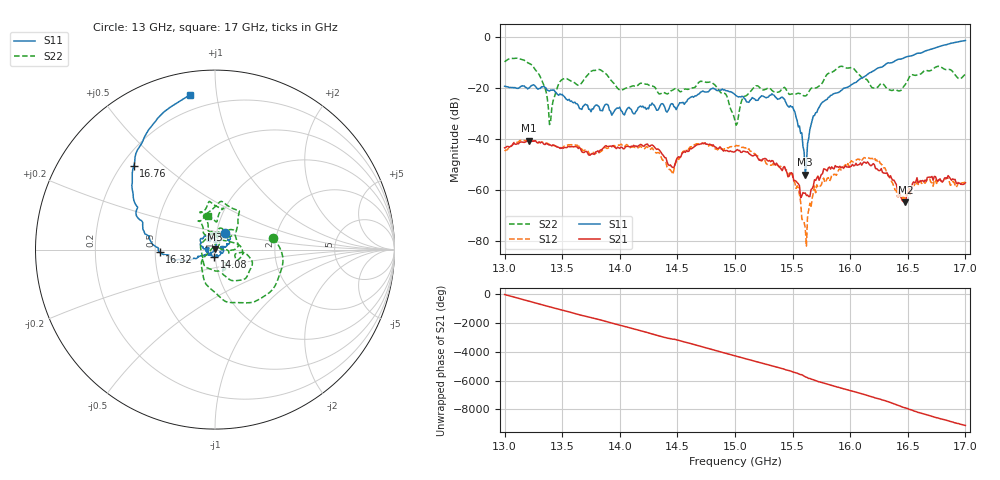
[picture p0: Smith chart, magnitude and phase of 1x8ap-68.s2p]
!Keysight Technologies,P9374A,MY57211807,A.19.30.04
!Date: Friday, May 08, 2026 15:47:55
!Correction: S11(C  2-Port  )
!S21(C  2-Port  )
!S12(C  2-Port  )
!S22(C  2-Port  )
!S2P File: Measurements: S11, S21, S12, S22:
# Hz S  dB  R 50
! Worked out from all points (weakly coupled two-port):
!   401 points, 13 GHz to 17 GHz, reference 50 ohm
!   highest |S21| = -40.60 dB at 13.21 GHz (marker M1); lowest = -64.9 dB at 16.48 GHz (marker M2)
!   lowest |S11| = -53.9 dB at 15.61 GHz (marker M3), VSWR 1.00, Z = 49.9 + j0.145 ohm
!   |S11| at or under -10 dB: start of sweep to 16.33 GHz; 16.33292 GHz to 16.34547 GHz (12.55 MHz wide, 0.0768 % of centre)
!   |S22| runs from -34.5 to -8.2 dB; largest |S21 - S12| = 0.0019
!   S11 on the Smith chart (normalised r, x): 13 GHz: 1.10, +0.21; 14.08 GHz: 0.99, -0.08; 16.32 GHz: 0.53, -0.02; 16.76 GHz: 0.25, +0.40; 17 GHz: 0.12, +0.84
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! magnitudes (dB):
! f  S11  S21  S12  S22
! 13 GHz  -19.2  -43.4  -44.7  -9.6
! 13.21 GHz  -19.9  -40.6  -40.3  -10.1
! 13.4 GHz  -20.7  -42.3  -42.4  -32.6
! 13.49 GHz  -22.5  -43.6  -43.4  -16.9
! 13.67 GHz  -28.3  -45.0  -44.0  -17.8
! 13.82 GHz  -27.2  -45.1  -45.3  -12.6
! 14.08 GHz  -27.4  -43.0  -42.7  -19.6
! 14.34 GHz  -28.0  -44.1  -45.3  -22.2
! 14.45 GHz  -26.0  -50.9  -52.8  -20.9
! 14.79 GHz  -20.3  -42.2  -42.4  -17.6
! 15 GHz  -22.5  -44.9  -42.8  -32.7
! 15.17 GHz  -24.1  -46.2  -45.7  -19.4
! 15.42 GHz  -23.9  -51.1  -50.6  -19.8
! 15.54 GHz  -32.8  -57.1  -58.4  -22.0
! 15.61 GHz  -53.9  -61.2  -75.0  -23.0
! 15.67 GHz  -32.6  -59.4  -63.2  -19.9
! 16.07 GHz  -16.9  -50.1  -47.8  -14.2
! 16.32 GHz  -10.2  -53.2  -53.4  -20.1
! 16.34 GHz  -10.0  -55.0  -54.6  -20.6
! 16.48 GHz  -7.8  -64.9  -61.3  -18.4
! 16.76 GHz  -3.8  -56.6  -55.9  -11.4
! 17 GHz  -1.2  -57.2  -56.8  -14.5
